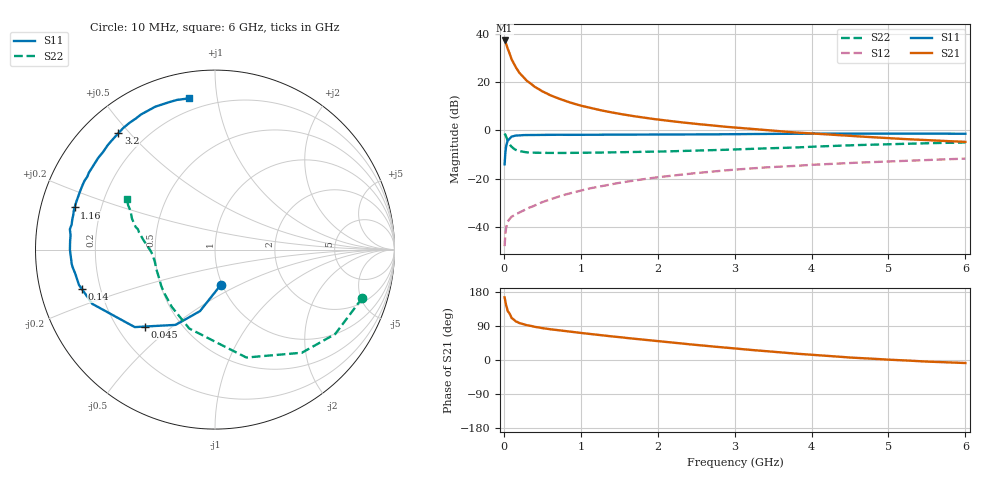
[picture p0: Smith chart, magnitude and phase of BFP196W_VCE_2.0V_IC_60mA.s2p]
! Infineon Technologies  Discrete & RF Semiconductors
! BFP196W
! VCE = 2.0 V,  IC =  60mA
! Common Emitter S-Parameters:  Jan 2016
# GHz  S  MA  R  50
!  f  S11  S21  S12  S22
! GHz  MAG  ANG  MAG  ANG  MAG  ANG  MAG  ANG
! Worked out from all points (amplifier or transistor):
!   210 points, 10 MHz to 6 GHz, reference 50 ohm
!   highest |S21| = 37.3 dB at 10 MHz (marker M1)
!   |S21| within 3 dB of that: start of sweep to 45.98 MHz
!   unconditionally stable (mu >= 1): 515.7 MHz to 3.35 GHz
!   at 185 MHz: K = 0.63, MSG = 29.5 dB, |S12| = -34.3 dB
!   at 1.52 GHz: K = 1.11, MAG = 12.2 dB, |S12| = -21.6 dB
!   at 6 GHz: K = 0.98, MSG = 3.5 dB, |S12| = -11.7 dB
!   S11 on the Smith chart (normalised r, x): 10 MHz: 0.99, -0.40; 45 MHz: 0.31, -0.41; 140 MHz: 0.13, -0.14; 1.16 GHz: 0.10, +0.15; 3.2 GHz: 0.10, +0.47; 6 GHz: 0.13, +0.83
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0.01  0.1987 -80.5  73.32 165.3  0.004 76.0  0.8643 -18.1
0.02  0.3528 -103.7  69.38 154.3  0.0072 66.2  0.8182 -35.1
0.03  0.4732 -117.6  62.87 144.2  0.0097 60.9  0.7513 -49.9
0.045  0.5796 -132.3  52.5 133.6  0.0121 51.6  0.6459 -67.0
0.05  0.6215 -136.0  49.55 129.1  0.013 49.3  0.6262 -73.8
0.1  0.7473 -156.1  29.95 111.0  0.0163 40.1  0.4624 -108.1
0.14  0.7742 -163.6  22.61 104.6  0.0177 40.6  0.4084 -122.8
0.15  0.7829 -165.4  20.84 102.3  0.018 40.7  0.3998 -127.0
0.2  0.7902 -170.3  15.81 97.7  0.0199 43.8  0.3737 -138.4
0.24  0.7994 -173.0  13.42 95.0  0.0213 45.7  0.3641 -144.2
0.3  0.8031 -176.0  10.65 91.8  0.0239 49.5  0.3513 -151.3
0.4  0.8084 180.0  8.047 87.6  0.0277 53.1  0.3461 -158.0
0.6  0.8085 174.4  5.401 81.2  0.0371 59.3  0.3423 -165.8
0.8  0.8109 170.1  4.077 76.2  0.0469 61.8  0.3421 -169.6
1.02  0.8137 165.9  3.213 71.1  0.0577 63.0  0.3453 -172.5
1.16  0.8167 163.3  2.845 67.8  0.065 62.9  0.3467 -173.9
2.02  0.823 148.4  1.671 49.4  0.1081 59.0  0.3647 179.7
3.1  0.84 131.3  1.117 28.7  0.1584 49.4  0.4088 171.3
3.2  0.8429 129.7  1.086 26.8  0.1626 48.5  0.4136 170.5
4.1  0.8585 117.5  0.849 12.5  0.1976 40.5  0.4667 163.1
5.1  0.8603 107.2  0.678 -0.0  0.231 32.2  0.5222 155.0
6  0.8549 99.8  0.581 -8.0  0.2608 25.7  0.5638 150.3
